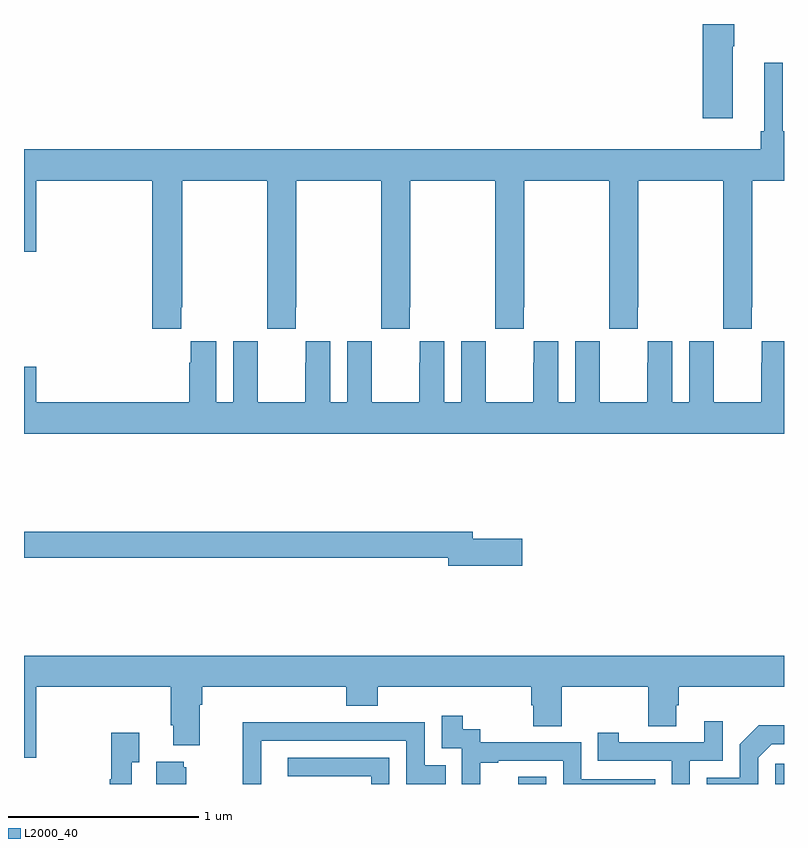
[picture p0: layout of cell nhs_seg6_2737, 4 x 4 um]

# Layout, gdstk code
import gdstk
lib = gdstk.Library(unit=1e-6, precision=1e-09)
def R(c, l, rs):  # rectangles x0, y0, x1, y1
    for r in rs: c.add(gdstk.rectangle(r[:2], r[2:], *l))
def P(c, l, *ps):  # polygons
    for p in ps: c.add(gdstk.Polygon(p, *l))
L2000_40 = (2000, 40)

nhs_seg6_2737 = lib.new_cell('nhs_seg6_2737')
R(nhs_seg6_2737, L2000_40, [(275.601,937.5,275.748,937.537), (276.954,937.5,277,937.606)])
P(nhs_seg6_2737, L2000_40, [(276.73,941.383),(276.738,941.383),(276.738,941.5),(276.572,941.5),(276.572,941.004),(276.73,941.004)],
  [(273,940.302),(273.064,940.302),(273.064,940.676),(273.674,940.676),(273.674,939.897),(273.827,939.897),(273.827,940.009),(273.834,940.009),(273.834,940.676),(274.279,940.676),(274.279,940.009),(274.281,940.009),(274.281,939.897),(274.431,939.897),(274.431,940.009),(274.434,940.009),(274.434,940.676),(274.879,940.676),(274.879,940.009),(274.881,940.009),(274.881,939.897),(275.031,939.897),(275.031,940.009),(275.034,940.009),(275.034,940.676),(275.479,940.676),(275.479,940.009),(275.481,940.009),(275.481,939.897),(275.631,939.897),(275.631,940.009),(275.634,940.009),(275.634,940.676),(276.079,940.676),(276.079,940.009),(276.081,940.009),(276.081,939.897),(276.231,939.897),(276.231,940.009),(276.234,940.009),(276.234,940.676),(276.679,940.676),(276.679,940.009),(276.681,940.009),(276.681,939.897),(276.831,939.897),(276.831,940.009),(276.834,940.009),(276.834,940.676),(277,940.676),(277,940.936),(276.993,940.936),(276.993,941.296),(276.896,941.296),(276.896,940.936),(276.877,940.936),(276.877,940.84),(273,940.84)],
  [(277,939.829),(276.882,939.829),(276.882,939.716),(276.881,939.716),(276.881,939.508),(276.631,939.508),(276.631,939.716),(276.63,939.716),(276.63,939.829),(276.5,939.829),(276.5,939.508),(276.412,939.508),(276.412,939.829),(276.282,939.829),(276.282,939.716),(276.281,939.716),(276.281,939.508),(276.031,939.508),(276.031,939.716),(276.03,939.716),(276.03,939.829),(275.9,939.829),(275.9,939.508),(275.812,939.508),(275.812,939.829),(275.682,939.829),(275.682,939.716),(275.681,939.716),(275.681,939.508),(275.431,939.508),(275.431,939.716),(275.43,939.716),(275.43,939.829),(275.3,939.829),(275.3,939.508),(275.212,939.508),(275.212,939.829),(275.082,939.829),(275.082,939.716),(275.081,939.716),(275.081,939.508),(274.831,939.508),(274.831,939.716),(274.83,939.716),(274.83,939.829),(274.7,939.829),(274.7,939.508),(274.612,939.508),(274.612,939.829),(274.482,939.829),(274.482,939.716),(274.481,939.716),(274.481,939.508),(274.231,939.508),(274.231,939.716),(274.23,939.716),(274.23,939.829),(274.1,939.829),(274.1,939.508),(274.012,939.508),(274.012,939.829),(273.878,939.829),(273.878,939.716),(273.869,939.716),(273.869,939.508),(273.064,939.508),(273.064,939.697),(273,939.697),(273,939.344),(277,939.344)],
  [(275.623,938.792),(275.362,938.792),(275.362,938.828),(273,938.828),(273,938.692),(275.234,938.692),(275.234,938.65),(275.623,938.65)],
  [(273.064,938.012),(273.773,938.012),(273.773,937.81),(273.785,937.81),(273.785,937.703),(273.925,937.703),(273.925,937.916),(273.938,937.916),(273.938,938.012),(274.697,938.012),(274.697,937.913),(274.862,937.913),(274.862,938.012),(275.669,938.012),(275.669,937.914),(275.681,937.914),(275.681,937.804),(275.829,937.804),(275.829,938.012),(276.286,938.012),(276.286,937.804),(276.433,937.804),(276.433,937.914),(276.446,937.914),(276.446,938.012),(277,938.012),(277,938.176),(273,938.176),(273,937.638),(273.064,937.638)],
  [(275.402,937.611),(275.497,937.611),(275.497,937.623),(275.838,937.623),(275.838,937.5),(276.323,937.5),(276.323,937.524),(275.934,937.524),(275.934,937.719),(275.4,937.719),(275.4,937.788),(275.308,937.788),(275.308,937.858),(275.199,937.858),(275.199,937.689),(275.304,937.689),(275.304,937.5),(275.402,937.5)],
  [(276.504,937.623),(276.678,937.623),(276.678,937.831),(276.581,937.831),(276.581,937.719),(276.13,937.719),(276.13,937.771),(276.019,937.771),(276.019,937.623),(276.408,937.623),(276.408,937.5),(276.504,937.5)],
  [(274.248,937.728),(275.013,937.728),(275.013,937.5),(275.219,937.5),(275.219,937.599),(275.109,937.599),(275.109,937.824),(274.613,937.824),(274.613,937.826),(274.15,937.826),(274.15,937.519),(274.152,937.519),(274.152,937.5),(274.248,937.5)],
  [(276.864,937.638),(276.936,937.71),(277,937.71),(277,937.808),(276.866,937.808),(276.768,937.71),(276.768,937.533),(276.594,937.533),(276.594,937.5),(276.864,937.5)],
  [(273.567,937.615),(273.607,937.615),(273.607,937.771),(273.459,937.771),(273.459,937.526),(273.451,937.526),(273.451,937.5),(273.567,937.5)],
  [(274.923,937.638),(274.389,937.638),(274.389,937.542),(274.827,937.542),(274.827,937.5),(274.923,937.5)],
  [(273.853,937.587),(273.842,937.587),(273.842,937.618),(273.695,937.618),(273.695,937.5),(273.853,937.5)])

lib.write_gds('nhs_seg6_2737.gds')
